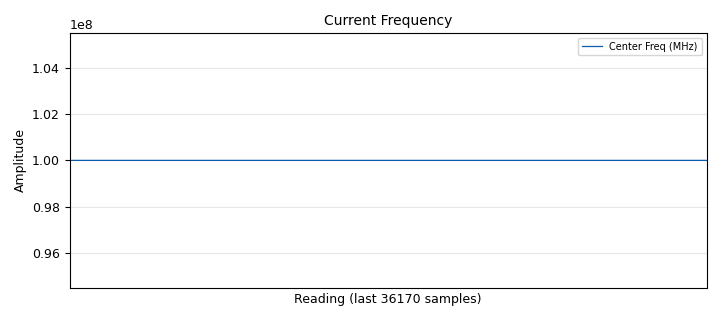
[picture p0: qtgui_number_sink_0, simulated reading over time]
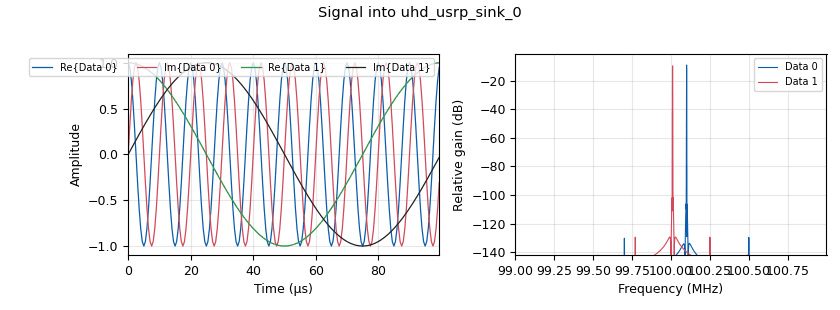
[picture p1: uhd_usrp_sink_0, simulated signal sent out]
options:
  parameters:
    author: zxkmm
    copyright: GPL3.0
    generate_options: qt_gui
    id: b210_factory_test
    output_language: python
    title: b210_factory_test
  states: {}

blocks:
- name: center_freq
  id: variable_function_probe
  parameters:
    block_id: freq_selector
    function_name: get_freq
    poll_rate: '10'
    value: freq_list[0]
  states: {}
- name: freq_index
  id: variable
  parameters:
    comment: counter index
    value: '0'
  states: {}
- name: freq_list
  id: variable
  parameters:
    comment: |-
      this is only for display
      TODO: maybe not needed
      *******频率这里写一样的**********
    value: '[100e6, 2400e6, 5100e6] '
  states: {}
- name: rx_gain
  id: variable_qtgui_range
  parameters:
    gui_hint: 3,1,1,2
    label: RX Gain
    start: '0'
    step: '1'
    stop: '60'
    value: '60'
  states: {}
- name: rx_samp_rate
  id: variable_qtgui_range
  parameters:
    gui_hint: 2,1,1,2
    label: RX Sample Rate
    start: 200e3
    step: 1000e3
    stop: 56e6
    value: 1e6
  states: {}
- name: tx_gain
  id: variable_qtgui_range
  parameters:
    gui_hint: 4,1,1,2
    label: TX Gain
    start: '0'
    step: '1'
    stop: '20'
    value: '20'
  states: {}
- name: tx_samp_rate
  id: variable_qtgui_range
  parameters:
    label: TX Sample Rate
    start: 200e3
    step: 1000e3
    stop: 56e6
    value: 2e6
  states: {}
- name: analog_const_source_x_0
  id: analog_const_source_x
  parameters:
    comment: source for frequency display
    const: center_freq
    type: float
  states: {}
- name: analog_sig_source_x_0
  id: analog_sig_source_x
  parameters:
    amp: '1'
    freq: '100000'
    offset: '0'
    phase: '0'
    samp_rate: tx_samp_rate
    type: complex
    waveform: analog.GR_COS_WAVE
  states: {}
- name: analog_sig_source_x_0_0
  id: analog_sig_source_x
  parameters:
    amp: '1'
    freq: '10000'
    offset: '0'
    phase: '0'
    samp_rate: tx_samp_rate
    type: complex
    waveform: analog.GR_COS_WAVE
  states: {}
- name: freq_selector
  id: epy_block
  parameters:
    _source_code: |
      import numpy as np
      from gnuradio import gr
      import time

      class blk(gr.basic_block):
          def __init__(self, freq_list=[433e6, 915e6, 1800e6, 2400e6, 2450e6, 5800e6], dwell_time=5.0):
              gr.basic_block.__init__(self,
                  name="Frequency Selector",
                  in_sig=[],
                  out_sig=[])
              
              self.freq_list = freq_list
              self.dwell_time = dwell_time
              self.freq_index = 0
              self.last_change_time = time.time()
              
          def get_freq(self):
              current_time = time.time()
              if current_time - self.last_change_time >= self.dwell_time:
                  self.freq_index = (self.freq_index + 1) % len(self.freq_list)
                  self.last_change_time = current_time
                  print(f"Switching to frequency: {self.freq_list[self.freq_index]/1e6:.0f} MHz")
              
              return self.freq_list[self.freq_index]
    comment: |-
      cycleer
      *******频率写这里**********
    dwell_time: '4.0'
    freq_list: '[100e6, 2400e6, 5100e6] '
  states: {}
- name: qtgui_auto_correlator_sink_0
  id: qtgui_auto_correlator_sink
  parameters:
    fac_decimation: '10'
    fac_size: '512'
    gui_hint: 8,2,1,1
    sampRate: rx_samp_rate
  states: {}
- name: qtgui_auto_correlator_sink_1
  id: qtgui_auto_correlator_sink
  parameters:
    fac_decimation: '10'
    fac_size: '512'
    gui_hint: 8,1,1,1
    sampRate: rx_samp_rate
  states: {}
- name: qtgui_freq_sink_x_0
  id: qtgui_freq_sink_x
  parameters:
    bw: rx_samp_rate
    fc: '0'
    fftsize: '1024'
    gui_hint: 5,1,1,1
    type: complex
  states: {}
- name: qtgui_freq_sink_x_1
  id: qtgui_freq_sink_x
  parameters:
    bw: rx_samp_rate
    fc: '0'
    fftsize: '1024'
    gui_hint: 5,2,1,1
    type: complex
  states: {}
- name: qtgui_number_sink_0
  id: qtgui_number_sink
  parameters:
    comment: show curr freq
    factor1: '1e-6'
    graph_type: qtgui.NUM_GRAPH_HORIZ
    gui_hint: 1,1,1,2
    label1: Center Freq (MHz)
    max: '6000'
    min: '0'
    name: '"Current Frequency"'
    type: float
    unit1: MHz
  states: {}
- name: qtgui_time_sink_x_0
  id: qtgui_time_sink_x
  parameters:
    ctrlpanel: 'True'
    gui_hint: 7,1,1,1
    label1: RX Channel A
    marker1: '1'
    marker2: '3'
    size: '1024'
    srate: rx_samp_rate
    type: complex
  states: {}
- name: qtgui_time_sink_x_0_0
  id: qtgui_time_sink_x
  parameters:
    ctrlpanel: 'True'
    gui_hint: 7,2,1,1
    label1: RX Channel B
    marker1: '1'
    marker2: '3'
    size: '1024'
    srate: rx_samp_rate
    type: complex
  states: {}
- name: qtgui_waterfall_sink_x_0
  id: qtgui_waterfall_sink_x
  parameters:
    bw: rx_samp_rate
    fc: '0'
    fftsize: '1024'
    gui_hint: 6,2,1,1
    type: complex
  states: {}
- name: qtgui_waterfall_sink_x_1
  id: qtgui_waterfall_sink_x
  parameters:
    bw: rx_samp_rate
    fc: '0'
    fftsize: '1024'
    gui_hint: 6,1,1,1
    type: complex
  states: {}
- name: uhd_usrp_sink_0
  id: uhd_usrp_sink
  parameters:
    ant0: '"TX/RX"'
    ant1: '"TX/RX"'
    bw0: tx_samp_rate
    bw1: tx_samp_rate
    center_freq0: center_freq
    center_freq1: center_freq
    dev_addr: ''
    gain0: tx_gain
    gain1: tx_gain
    nchan: '2'
    samp_rate: tx_samp_rate
    sd_spec0: A:A  A:B
    sync: sync
    type: fc32
  states: {}
- name: uhd_usrp_source_0
  id: uhd_usrp_source
  parameters:
    ant0: '"RX2"'
    ant1: '"RX2"'
    bw0: rx_samp_rate
    bw1: rx_samp_rate
    center_freq0: center_freq
    center_freq1: center_freq
    clock_source0: internal
    dev_addr: ''
    gain0: rx_gain
    gain1: rx_gain
    nchan: '2'
    samp_rate: rx_samp_rate
    sd_spec0: A:A A:B
    sync: sync
    type: fc32
  states: {}

connections:
- [analog_const_source_x_0, '0', qtgui_number_sink_0, '0']
- [analog_sig_source_x_0, '0', uhd_usrp_sink_0, '0']
- [analog_sig_source_x_0_0, '0', uhd_usrp_sink_0, '1']
- [uhd_usrp_source_0, '0', qtgui_auto_correlator_sink_1, '0']
- [uhd_usrp_source_0, '0', qtgui_freq_sink_x_0, '0']
- [uhd_usrp_source_0, '0', qtgui_time_sink_x_0, '0']
- [uhd_usrp_source_0, '0', qtgui_waterfall_sink_x_1, '0']
- [uhd_usrp_source_0, '1', qtgui_auto_correlator_sink_0, '0']
- [uhd_usrp_source_0, '1', qtgui_freq_sink_x_1, '0']
- [uhd_usrp_source_0, '1', qtgui_time_sink_x_0_0, '0']
- [uhd_usrp_source_0, '1', qtgui_waterfall_sink_x_0, '0']

metadata:
  file_format: 1
  grc_version: 3.10.12.0
